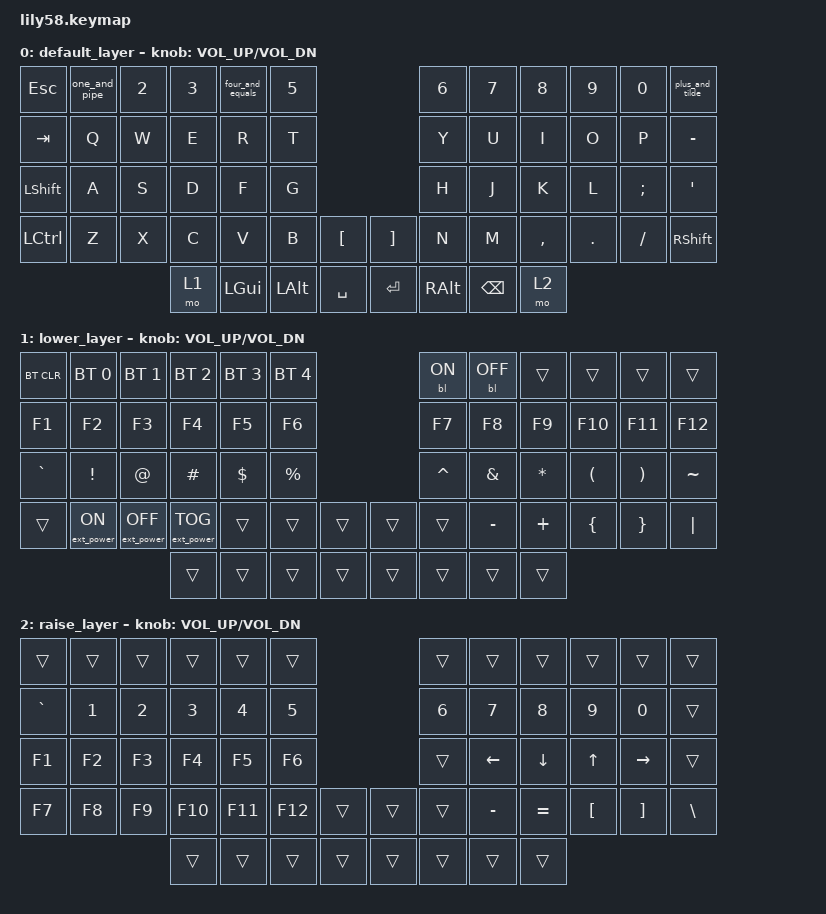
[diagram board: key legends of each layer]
/*
 * Copyright (c) 2020 The ZMK Contributors
 *
 * SPDX-License-Identifier: MIT
 */

#include <behaviors.dtsi>
#include <dt-bindings/zmk/backlight.h>
#include <dt-bindings/zmk/bt.h>
#include <dt-bindings/zmk/ext_power.h>
#include <dt-bindings/zmk/keys.h>

/ {
    behaviors {
        plus_and_tilde: plus_and_tilde {
            compatible = "zmk,behavior-mod-morph";
            label = "PLUS_AND_TILDE";
            bindings = <&kp PLUS>, <&kp TILDE>;

            #binding-cells = <0>;
            mods = <(MOD_RALT)>;
        };

        one_and_pipe: one_and_pipe {
            compatible = "zmk,behavior-mod-morph";
            label = "ONE_AND_PIPE";
            bindings = <&kp NUMBER_1>, <&kp PIPE>;

            #binding-cells = <0>;
            mods = <(MOD_RALT)>;
        };

        four_and_equals: four_and_equals {
            compatible = "zmk,behavior-mod-morph";
            label = "FOUR_AND_EQUALS";
            bindings = <&kp NUMBER_4>, <&kp EQUAL>;

            #binding-cells = <0>;
            mods = <(MOD_RALT)>;
        };
    };

    keymap {
        compatible = "zmk,keymap";

        default_layer {
            // ------------------------------------------------------------------------------------------------------------
            // |  ESC  |  1  |  2  |  3   |  4   |  5   |                   |  6   |  7    |  8    |  9   |   0   |   `   |
            // |  TAB  |  Q  |  W  |  E   |  R   |  T   |                   |  Y   |  U    |  I    |  O   |   P   |   -   |
            // |  CTRL |  A  |  S  |  D   |  F   |  G   |                   |  H   |  J    |  K    |  L   |   ;   |   '   |
            // | SHIFT |  Z  |  X  |  C   |  V   |  B   |   "["  |  |  "]"  |  N   |  M    |  ,    |  .   |   /   | SHIFT |
            //                     | ALT  | GUI  | LOWER|  SPACE |  | ENTER | RAISE| BSPC  | GUI   |

            bindings = <
&kp ESC     &one_and_pipe  &kp N2  &kp N3  &four_and_equals  &kp N5                               &kp N6    &kp N7    &kp N8     &kp N9   &kp N0    &plus_and_tilde
&kp TAB     &kp Q          &kp W   &kp E   &kp R             &kp T                                &kp Y     &kp U     &kp I      &kp O    &kp P     &kp MINUS
&kp LSHIFT  &kp A          &kp S   &kp D   &kp F             &kp G                                &kp H     &kp J     &kp K      &kp L    &kp SEMI  &kp SQT
&kp LCTRL   &kp Z          &kp X   &kp C   &kp V             &kp B         &kp LBKT     &kp RBKT  &kp N     &kp M     &kp COMMA  &kp DOT  &kp FSLH  &kp RSHFT
                                   &mo 1   &kp LGUI          &kp LEFT_ALT  &kp SPACE    &kp RET   &kp RALT  &kp BSPC  &mo 2
            >;

            sensor-bindings = <&inc_dec_kp C_VOL_UP C_VOL_DN>;
        };

        lower_layer {
            // ------------------------------------------------------------------------------------------------------------
            // | BTCLR | BT1 | BT2 |  BT3 |  BT4 |  BT5 |                   |      |       |       |      |       |       |
            // |  F1   |  F2 |  F3 |  F4  |  F5  |  F6  |                   |  F7  |  F8   |  F9   |  F10 |  F11  |  F12  |
            // |   `   |  !  |  @  |  #   |  $   |  %   |                   |  ^   |  &    |  *    |  (   |   )   |   ~   |
            // |       |     |     |      |      |      |        |  |       |      |  _    |  +    |  {   |   }   |  "|"  |
            //                     |      |      |      |        |  |       |      |       |       |

            bindings = <
&bt BT_CLR  &bt BT_SEL 0      &bt BT_SEL 1       &bt BT_SEL 2       &bt BT_SEL 3  &bt BT_SEL 4                    &bl BL_ON  &bl BL_OFF  &trans     &trans    &trans    &trans
&kp F1      &kp F2            &kp F3             &kp F4             &kp F5        &kp F6                          &kp F7     &kp F8      &kp F9     &kp F10   &kp F11   &kp F12
&kp GRAVE   &kp EXCL          &kp AT             &kp HASH           &kp DOLLAR    &kp PRCNT                       &kp CARET  &kp AMPS    &kp ASTRK  &kp LPAR  &kp RPAR  &kp TILDE
&trans      &ext_power EP_ON  &ext_power EP_OFF  &ext_power EP_TOG  &trans        &trans        &trans    &trans  &trans     &kp MINUS   &kp PLUS   &kp LBRC  &kp RBRC  &kp PIPE
                                                 &trans             &trans        &trans        &trans    &trans  &trans     &trans      &trans
            >;

            sensor-bindings = <&inc_dec_kp C_VOL_UP C_VOL_DN>;
        };

        raise_layer {
            // ------------------------------------------------------------------------------------------------------------
            // |       |     |     |      |      |      |                   |      |       |       |      |       |       |
            // |   `   |  1  |  2  |  3   |  4   |  5   |                   |  6   |   7   |   8   |  9   |   0   |       |
            // |   F1  |  F2 |  F3 |  F4  |  F5  |  F6  |                   |      |   <-  |   v   |  ^   |  ->   |       |
            // |   F7  |  F8 |  F9 |  F10 |  F11 |  F12 |        |  |       |  +   |   -   |   =   |  [   |   ]   |   \   |
            //                     |      |      |      |        |  |       |      |       |       |

            bindings = <
&trans     &trans  &trans  &trans   &trans   &trans                     &trans  &trans     &trans     &trans    &trans     &trans
&kp GRAVE  &kp N1  &kp N2  &kp N3   &kp N4   &kp N5                     &kp N6  &kp N7     &kp N8     &kp N9    &kp N0     &trans
&kp F1     &kp F2  &kp F3  &kp F4   &kp F5   &kp F6                     &trans  &kp LEFT   &kp DOWN   &kp UP    &kp RIGHT  &trans
&kp F7     &kp F8  &kp F9  &kp F10  &kp F11  &kp F12  &trans    &trans  &trans  &kp MINUS  &kp EQUAL  &kp LBKT  &kp RBKT   &kp BSLH
                           &trans   &trans   &trans   &trans    &trans  &trans  &trans     &trans
            >;

            sensor-bindings = <&inc_dec_kp C_VOL_UP C_VOL_DN>;
        };
    };
};
